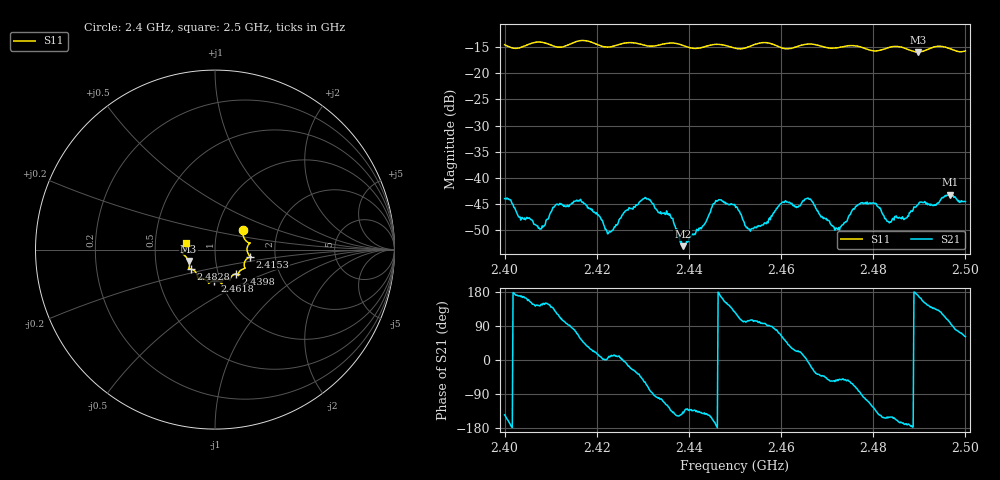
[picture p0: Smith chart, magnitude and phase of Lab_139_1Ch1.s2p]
# Hz S RI R 50
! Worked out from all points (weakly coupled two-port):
!   601 points, 2.4 GHz to 2.5 GHz, reference 50 ohm
!   highest |S21| = -43.29 dB at 2.4967 GHz (marker M1); lowest = -53.2 dB at 2.4387 GHz (marker M2)
!   lowest |S11| = -15.9 dB at 2.4897 GHz (marker M3), VSWR 1.38, Z = 36.9 - j4.85 ohm
!   |S11| at or under -10 dB: start of sweep to end of sweep
!   S12 and S22 are empty: the file has one direction only
!   S11 on the Smith chart (normalised r, x): 2.4 GHz: 1.33, +0.29; 2.4153 GHz: 1.48, -0.12; 2.4398 GHz: 1.21, -0.34; 2.4618 GHz: 0.94, -0.33; 2.4828 GHz: 0.74, -0.17; 2.5 GHz: 0.72, +0.06
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2.4e9  0.1553 0.1067  -0.00514 -0.00362  0 0  0 0
2.407833e9  0.1958 0.0377  -0.00265 0.00183  0 0  0 0
2.415333e9  0.1966 -0.0395  0.00145 0.00578  0 0  0 0
2.416667e9  0.2024 -0.0435  0.00355 0.00469  0 0  0 0
2.422667e9  0.1641 -0.0723  0.00297 0.000508  0 0  0 0
2.430167e9  0.1512 -0.1107  0.00356 -0.00515  0 0  0 0
2.433333e9  0.1299 -0.1339  -0.000867 -0.00455  0 0  0 0
2.436e9  0.1315 -0.145  -0.00289 -0.00314  0 0  0 0
2.438667e9  0.1247 -0.1377  -0.00162 -0.00149  0 0  0 0
2.439833e9  0.1155 -0.1359  -0.00164 -0.0018  0 0  0 0
2.446167e9  0.0845 -0.1704  -0.00594 -0.000155  0 0  0 0
2.45e9  0.0652 -0.162  -0.00314 0.00443  0 0  0 0
2.4535e9  0.0365 -0.1804  -0.000852 0.00309  0 0  0 0
2.461833e9  -0.00355 -0.1728  0.0046 0.00354  0 0  0 0
2.466667e9  -0.0349 -0.1878  0.00556 -0.00211  0 0  0 0
2.472167e9  -0.0719 -0.1608  0.00197 -0.00253  0 0  0 0
2.4775e9  -0.0975 -0.149  -0.000167 -0.00573  0 0  0 0
2.482833e9  -0.1361 -0.1087  -0.00351 -0.00177  0 0  0 0
2.483333e9  -0.1399 -0.1085  -0.00329 -0.00185  0 0  0 0
2.489667e9  -0.1469 -0.064  -0.00541 0.00084  0 0  0 0
2.496667e9  -0.1725 -0.0107  -0.00106 0.00676  0 0  0 0
2.5e9  -0.1596 0.0388  0.00279 0.00517  0 0  0 0
